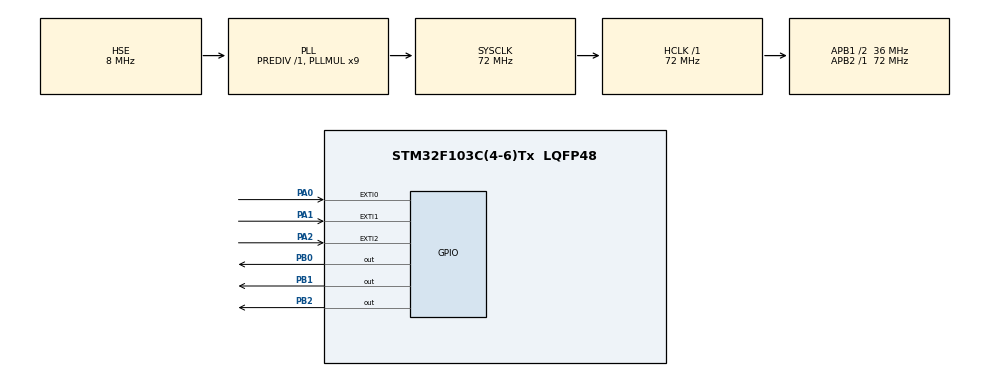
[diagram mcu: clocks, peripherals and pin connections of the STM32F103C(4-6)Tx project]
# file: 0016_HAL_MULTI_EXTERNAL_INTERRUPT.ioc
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Mcu.Family=STM32F1
Mcu.Name=STM32F103C(4-6)Tx
Mcu.Package=LQFP48
NVIC.EXTI0_IRQn=true\:0\:0\:false\:false\:true\:true\:true
NVIC.EXTI1_IRQn=true\:0\:0\:false\:false\:true\:true\:true
NVIC.EXTI2_IRQn=true\:0\:0\:false\:false\:true\:true\:true
NVIC.PriorityGroup=NVIC_PRIORITYGROUP_4
PA0-WKUP.GPIO_ModeDefaultEXTI=GPIO_MODE_IT_RISING
PA0-WKUP.GPIO_PuPd=GPIO_PULLDOWN
PA0-WKUP.Signal=GPXTI0
PA1.GPIO_ModeDefaultEXTI=GPIO_MODE_IT_RISING
PA1.GPIO_PuPd=GPIO_PULLDOWN
PA1.Signal=GPXTI1
PA13.Mode=Serial_Wire
PA13.Signal=SYS_JTMS-SWDIO
PA14.Mode=Serial_Wire
PA14.Signal=SYS_JTCK-SWCLK
PA2.GPIO_ModeDefaultEXTI=GPIO_MODE_IT_RISING
PA2.GPIO_PuPd=GPIO_PULLDOWN
PA2.Signal=GPXTI2
PB0.GPIO_Speed=GPIO_SPEED_FREQ_HIGH
PB0.PinState=GPIO_PIN_RESET
PB0.Signal=GPIO_Output
PB1.GPIO_Speed=GPIO_SPEED_FREQ_HIGH
PB1.Signal=GPIO_Output
PB2.GPIO_Speed=GPIO_SPEED_FREQ_HIGH
PB2.Signal=GPIO_Output
PD0-OSC_IN.Mode=HSE-External-Oscillator
PD0-OSC_IN.Signal=RCC_OSC_IN
PD1-OSC_OUT.Mode=HSE-External-Oscillator
PD1-OSC_OUT.Signal=RCC_OSC_OUT
ProjectManager.HeapSize=0x200
ProjectManager.StackSize=0x400
ProjectManager.TargetToolchain=MDK-ARM V5.27
RCC.AHBFreq_Value=72000000
RCC.APB1CLKDivider=RCC_HCLK_DIV2
RCC.APB1Freq_Value=36000000
RCC.APB1TimFreq_Value=72000000
RCC.APB2Freq_Value=72000000
RCC.APB2TimFreq_Value=72000000
RCC.HCLKFreq_Value=72000000
RCC.PLLMUL=RCC_PLL_MUL9
RCC.PLLSourceVirtual=RCC_PLLSOURCE_HSE
RCC.SYSCLKFreq_VALUE=72000000
RCC.SYSCLKSource=RCC_SYSCLKSOURCE_PLLCLK
RCC.USBFreq_Value=72000000
board=custom

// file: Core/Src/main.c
/* USER CODE BEGIN Header */
/**
  ******************************************************************************
  * @file           : main.c
  * @brief          : Main program body
  ******************************************************************************
  * @attention
  *
  * <h2><center>&copy; Copyright (c) 2021 STMicroelectronics.
  * All rights reserved.</center></h2>
  *
  * This software component is licensed by ST under BSD 3-Clause license,
  * the "License"; You may not use this file except in compliance with the
  * License. You may obtain a copy of the License at:
  *                        opensource.org/licenses/BSD-3-Clause
  *
  ******************************************************************************
  */
/* USER CODE END Header */
#include "main.h"

/* USER CODE BEGIN Includes */
int count = 0;
int i = 0;
/* USER CODE END Includes */

void SystemClock_Config(void);
static void MX_GPIO_Init(void);

/* USER CODE BEGIN 0 */
void HAL_GPIO_EXTI_Callback(uint16_t GPIO_Pin)
{

	if(HAL_GPIO_ReadPin(GPIOA,GPIO_PIN_0))
	{
		i++;
		if(i == 1)
		{
			count = 500;
		}
		else if(i == 2)
		{
			count = 300;
		}
		else if(i == 3)
		{
			count = 200;
		}
		else if(i == 4)
		{
			count = 0;
			i = 0;
		}
	}
	if(HAL_GPIO_ReadPin(GPIOA,GPIO_PIN_1))
	{
		i = 0;
		count = 0;
	}

}
/* USER CODE END 0 */

int main(void)
{

  /* MCU Configuration--------------------------------------------------------*/

  /* Reset of all peripherals, Initializes the Flash interface and the Systick. */
  HAL_Init();

  /* Configure the system clock */
  SystemClock_Config();

  /* Initialize all configured peripherals */
  MX_GPIO_Init();

  /* Infinite loop */
  while (1)
  {

    /* USER CODE BEGIN 3 */
		HAL_GPIO_TogglePin(GPIOB,GPIO_PIN_All);
		HAL_Delay(count);
  }
  /* USER CODE END 3 */
}

void SystemClock_Config(void)
{
  RCC_OscInitTypeDef RCC_OscInitStruct = {0};
  RCC_ClkInitTypeDef RCC_ClkInitStruct = {0};

  /** Initializes the RCC Oscillators according to the specified parameters
  * in the RCC_OscInitTypeDef structure.
  */
  RCC_OscInitStruct.OscillatorType = RCC_OSCILLATORTYPE_HSE;
  RCC_OscInitStruct.HSEState = RCC_HSE_ON;
  RCC_OscInitStruct.HSEPredivValue = RCC_HSE_PREDIV_DIV1;
  RCC_OscInitStruct.HSIState = RCC_HSI_ON;
  RCC_OscInitStruct.PLL.PLLState = RCC_PLL_ON;
  RCC_OscInitStruct.PLL.PLLSource = RCC_PLLSOURCE_HSE;
  RCC_OscInitStruct.PLL.PLLMUL = RCC_PLL_MUL9;
  if (HAL_RCC_OscConfig(&RCC_OscInitStruct) != HAL_OK)
  {
    Error_Handler();
  }
  /** Initializes the CPU, AHB and APB buses clocks
  */
  RCC_ClkInitStruct.ClockType = RCC_CLOCKTYPE_HCLK|RCC_CLOCKTYPE_SYSCLK
                              |RCC_CLOCKTYPE_PCLK1|RCC_CLOCKTYPE_PCLK2;
  RCC_ClkInitStruct.SYSCLKSource = RCC_SYSCLKSOURCE_PLLCLK;
  RCC_ClkInitStruct.AHBCLKDivider = RCC_SYSCLK_DIV1;
  RCC_ClkInitStruct.APB1CLKDivider = RCC_HCLK_DIV2;
  RCC_ClkInitStruct.APB2CLKDivider = RCC_HCLK_DIV1;

  if (HAL_RCC_ClockConfig(&RCC_ClkInitStruct, FLASH_LATENCY_2) != HAL_OK)
  {
    Error_Handler();
  }
}

static void MX_GPIO_Init(void)
{
  GPIO_InitTypeDef GPIO_InitStruct = {0};

  /* GPIO Ports Clock Enable */
  __HAL_RCC_GPIOD_CLK_ENABLE();
  __HAL_RCC_GPIOA_CLK_ENABLE();
  __HAL_RCC_GPIOB_CLK_ENABLE();

  /*Configure GPIO pin Output Level */
  HAL_GPIO_WritePin(GPIOB, GPIO_PIN_0|GPIO_PIN_1|GPIO_PIN_2, GPIO_PIN_RESET);

  /*Configure GPIO pins : PA0 PA1 PA2 */
  GPIO_InitStruct.Pin = GPIO_PIN_0|GPIO_PIN_1|GPIO_PIN_2;
  GPIO_InitStruct.Mode = GPIO_MODE_IT_RISING;
  GPIO_InitStruct.Pull = GPIO_PULLDOWN;
  HAL_GPIO_Init(GPIOA, &GPIO_InitStruct);

  /*Configure GPIO pins : PB0 PB1 PB2 */
  GPIO_InitStruct.Pin = GPIO_PIN_0|GPIO_PIN_1|GPIO_PIN_2;
  GPIO_InitStruct.Mode = GPIO_MODE_OUTPUT_PP;
  GPIO_InitStruct.Pull = GPIO_NOPULL;
  GPIO_InitStruct.Speed = GPIO_SPEED_FREQ_HIGH;
  HAL_GPIO_Init(GPIOB, &GPIO_InitStruct);

  /* EXTI interrupt init*/
  HAL_NVIC_SetPriority(EXTI0_IRQn, 0, 0);
  HAL_NVIC_EnableIRQ(EXTI0_IRQn);

  HAL_NVIC_SetPriority(EXTI1_IRQn, 0, 0);
  HAL_NVIC_EnableIRQ(EXTI1_IRQn);

  HAL_NVIC_SetPriority(EXTI2_IRQn, 0, 0);
  HAL_NVIC_EnableIRQ(EXTI2_IRQn);

}

void Error_Handler(void)
{
  __disable_irq();
  while (1)
  {
  }
}

/************************ (C) COPYRIGHT STMicroelectronics *****END OF FILE****/
